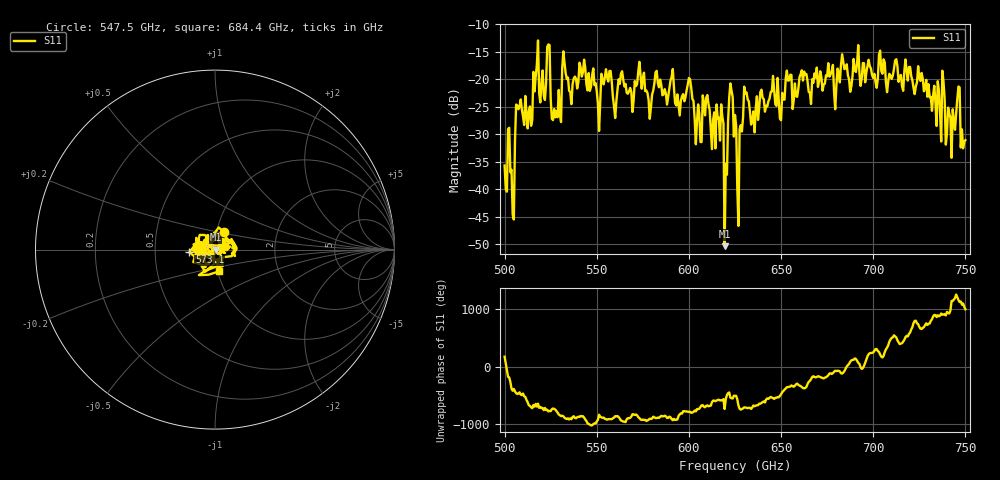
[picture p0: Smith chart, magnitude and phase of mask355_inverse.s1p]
!Created with skrf (http://scikit-rf.org).
# GHz S MA R 50.0
!freq magS11 angS11
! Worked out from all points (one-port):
!   401 points, 500 GHz to 750 GHz, reference 50 ohm
!   lowest |S11| = -50.4 dB at 619.4 GHz (marker M1), VSWR 1.01, Z = 50.3 - j0.0887 ohm
!   |S11| at or under -10 dB: start of sweep to end of sweep
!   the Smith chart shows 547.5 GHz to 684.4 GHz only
!   S11 on the Smith chart (normalised r, x): 547.5 GHz: 1.09, +0.21; 573.1 GHz: 0.75, -0.02; 684.4 GHz: 1.02, -0.25
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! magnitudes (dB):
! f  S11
! 500 GHz  -35.7
! 504.4 GHz  -44.7
! 507.5 GHz  -25.5
! 513.8 GHz  -25.0
! 516.9 GHz  -19.5
! 520.6 GHz  -18.4
! 523.8 GHz  -13.7
! 526.9 GHz  -25.4
! 531.2 GHz  -18.0
! 547.5 GHz  -19.3
! 562.5 GHz  -20.9
! 573.1 GHz  -16.9
! 593.8 GHz  -22.8
! 600 GHz  -19.8
! 616.2 GHz  -27.0
! 619.4 GHz  -50.4
! 622.5 GHz  -20.8
! 625 GHz  -26.5
! 627.5 GHz  -29.2
! 631.2 GHz  -22.4
! 634.4 GHz  -27.5
! 656.2 GHz  -25.4
! 684.4 GHz  -18.2
! 687.5 GHz  -22.3
! 718.8 GHz  -20.3
! 741.2 GHz  -26.3
! 745.6 GHz  -23.6
! 750 GHz  -31.1
